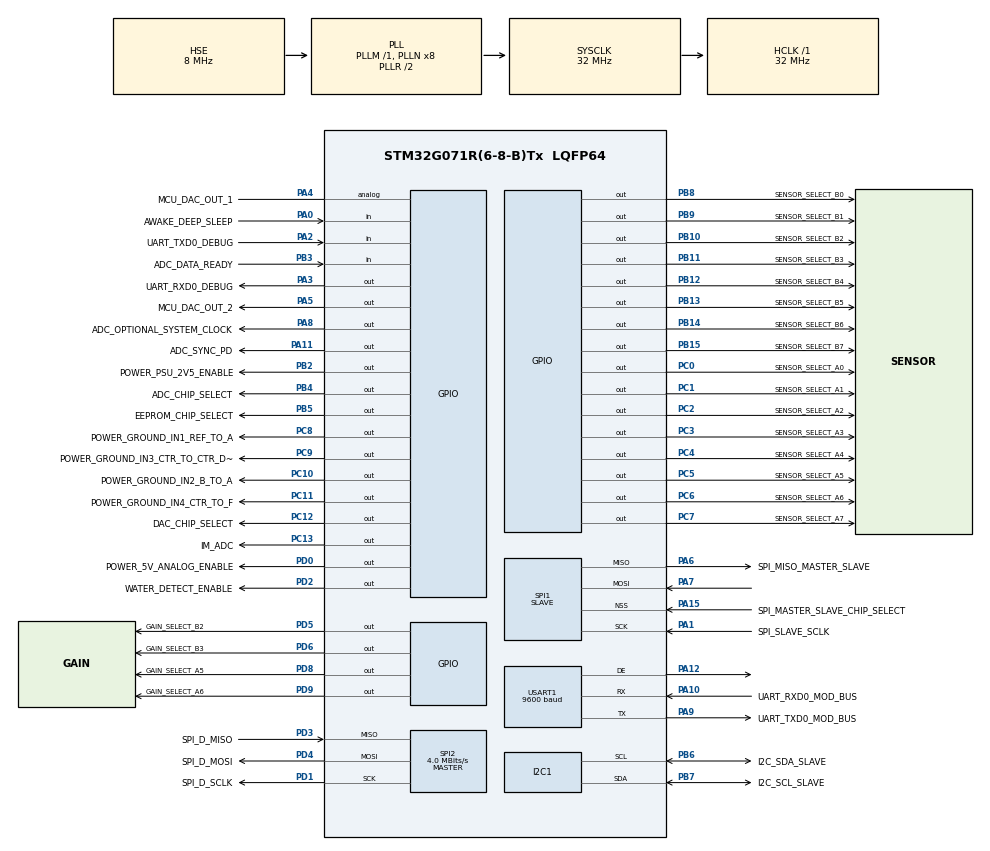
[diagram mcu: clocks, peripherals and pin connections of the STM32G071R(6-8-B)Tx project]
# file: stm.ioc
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Dma.Request0=USART1_RX
Dma.USART1_RX.0.Direction=DMA_PERIPH_TO_MEMORY
Dma.USART1_RX.0.EventEnable=DISABLE
Dma.USART1_RX.0.Instance=DMA1_Channel1
Dma.USART1_RX.0.MemDataAlignment=DMA_MDATAALIGN_BYTE
Dma.USART1_RX.0.MemInc=DMA_MINC_ENABLE
Dma.USART1_RX.0.Mode=DMA_NORMAL
Dma.USART1_RX.0.PeriphDataAlignment=DMA_PDATAALIGN_BYTE
Dma.USART1_RX.0.PeriphInc=DMA_PINC_DISABLE
Dma.USART1_RX.0.Polarity=HAL_DMAMUX_REQ_GEN_RISING
Dma.USART1_RX.0.Priority=DMA_PRIORITY_LOW
Dma.USART1_RX.0.RequestNumber=1
Dma.USART1_RX.0.SignalID=NONE
Dma.USART1_RX.0.SyncEnable=DISABLE
Dma.USART1_RX.0.SyncPolarity=HAL_DMAMUX_SYNC_NO_EVENT
Dma.USART1_RX.0.SyncRequestNumber=1
Dma.USART1_RX.0.SyncSignalID=NONE
I2C1.Timing=0x00707CBB
Mcu.Family=STM32G0
Mcu.Name=STM32G071R(6-8-B)Tx
Mcu.Package=LQFP64
NVIC.DMA1_Channel1_IRQn=true\:0\:0\:false\:false\:true\:false\:true\:true
NVIC.TIM14_IRQn=true\:1\:0\:true\:false\:true\:true\:true\:true
NVIC.TIM16_IRQn=true\:1\:0\:true\:false\:true\:true\:true\:true
NVIC.TIM17_IRQn=true\:1\:0\:true\:false\:true\:true\:true\:true
NVIC.TIM6_DAC_LPTIM1_IRQn=true\:1\:0\:true\:false\:true\:true\:true\:true
NVIC.TIM7_LPTIM2_IRQn=true\:1\:0\:true\:false\:true\:true\:true\:true
NVIC.USART1_IRQn=true\:0\:0\:false\:false\:true\:true\:true\:true
PA0.GPIO_Label=AWAKE_DEEP_SLEEP
PA0.Signal=GPIO_Input
PA1.GPIO_Label=SPI_SLAVE_SCLK
PA1.Mode=Full_Duplex_Slave
PA1.Signal=SPI1_SCK
PA10.GPIO_Label=UART_RXD0_MOD_BUS
PA10.Mode=Asynchronous
PA10.Signal=USART1_RX
PA11\ [PA9].GPIO_Label=ADC_SYNC_PD
PA11\ [PA9].Signal=GPIO_Output
PA12\ [PA10].Mode=Hardware Flow Control (RS485)
PA12\ [PA10].Signal=USART1_DE
PA13.Mode=Serial_Wire
PA13.Signal=SYS_SWDIO
PA14-BOOT0.Mode=Serial_Wire
PA14-BOOT0.Signal=SYS_SWCLK
PA15.GPIO_Label=SPI_MASTER_SLAVE_CHIP_SELECT
PA15.Mode=NSS_Signal_Hard_Input
PA15.Signal=SPI1_NSS
PA2.GPIO_Label=UART_TXD0_DEBUG
PA2.Signal=GPIO_Input
PA3.GPIO_Label=UART_RXD0_DEBUG
PA3.Signal=GPIO_Output
PA4.GPIO_Label=MCU_DAC_OUT_1
PA4.Signal=SharedAnalog_PA4
PA5.GPIO_Label=MCU_DAC_OUT_2
PA5.Signal=GPIO_Output
PA6.GPIO_Label=SPI_MISO_MASTER_SLAVE
PA6.Mode=Full_Duplex_Slave
PA6.Signal=SPI1_MISO
PA7.Mode=Full_Duplex_Slave
PA7.Signal=SPI1_MOSI
PA8.GPIO_Label=ADC_OPTIONAL_SYSTEM_CLOCK
PA8.Signal=GPIO_Output
PA9.GPIO_Label=UART_TXD0_MOD_BUS
PA9.Mode=Asynchronous
PA9.Signal=USART1_TX
PB10.GPIO_Label=SENSOR_SELECT_B2
PB10.Signal=GPIO_Output
PB11.GPIO_Label=SENSOR_SELECT_B3
PB11.Signal=GPIO_Output
PB12.GPIO_Label=SENSOR_SELECT_B4
PB12.Signal=GPIO_Output
PB13.GPIO_Label=SENSOR_SELECT_B5
PB13.Signal=GPIO_Output
PB14.GPIO_Label=SENSOR_SELECT_B6
PB14.Signal=GPIO_Output
PB15.GPIO_Label=SENSOR_SELECT_B7
PB15.Signal=GPIO_Output
PB2.GPIO_Label=POWER_PSU_2V5_ENABLE
PB2.Signal=GPIO_Output
PB3.GPIO_Label=ADC_DATA_READY
PB3.Signal=GPIO_Input
PB4.GPIO_Label=ADC_CHIP_SELECT
PB4.Signal=GPIO_Output
PB5.GPIO_Label=EEPROM_CHIP_SELECT
PB5.Signal=GPIO_Output
PB6.GPIO_Label=I2C_SDA_SLAVE
PB6.Mode=I2C
PB6.Signal=I2C1_SCL
PB7.GPIO_Label=I2C_SCL_SLAVE
PB7.Mode=I2C
PB7.Signal=I2C1_SDA
PB8.GPIO_Label=SENSOR_SELECT_B0
PB8.Signal=GPIO_Output
PB9.GPIO_Label=SENSOR_SELECT_B1
PB9.Signal=GPIO_Output
PC0.GPIO_Label=SENSOR_SELECT_A0
PC0.Signal=GPIO_Output
PC1.GPIO_Label=SENSOR_SELECT_A1
PC1.Signal=GPIO_Output
PC10.GPIO_Label=POWER_GROUND_IN2_B_TO_A
PC10.Signal=GPIO_Output
PC11.GPIO_Label=POWER_GROUND_IN4_CTR_TO_F
PC11.Signal=GPIO_Output
PC12.GPIO_Label=DAC_CHIP_SELECT
PC12.Signal=GPIO_Output
PC13.GPIO_Label=IM_ADC
PC13.Signal=GPIO_Output
PC14-OSC32_IN\ (PC14).Mode=LSE-External-Oscillator
PC14-OSC32_IN\ (PC14).Signal=RCC_OSC32_IN
PC15-OSC32_OUT\ (PC15).Mode=LSE-External-Oscillator
PC15-OSC32_OUT\ (PC15).Signal=RCC_OSC32_OUT
PC2.GPIO_Label=SENSOR_SELECT_A2
PC2.Signal=GPIO_Output
PC3.GPIO_Label=SENSOR_SELECT_A3
PC3.Signal=GPIO_Output
PC4.GPIO_Label=SENSOR_SELECT_A4
PC4.Signal=GPIO_Output
PC5.GPIO_Label=SENSOR_SELECT_A5
PC5.Signal=GPIO_Output
PC6.GPIO_Label=SENSOR_SELECT_A6
PC6.Signal=GPIO_Output
PC7.GPIO_Label=SENSOR_SELECT_A7
PC7.Signal=GPIO_Output
PC8.GPIO_Label=POWER_GROUND_IN1_REF_TO_A
PC8.Signal=GPIO_Output
PC9.GPIO_Label=POWER_GROUND_IN3_CTR_TO_CTR_DRV
PC9.Signal=GPIO_Output
PD0.GPIO_Label=POWER_5V_ANALOG_ENABLE
PD0.Signal=GPIO_Output
PD1.GPIO_Label=SPI_D_SCLK
PD1.Mode=Full_Duplex_Master
PD1.Signal=SPI2_SCK
PD2.GPIO_Label=WATER_DETECT_ENABLE
PD2.Signal=GPIO_Output
PD3.GPIO_Label=SPI_D_MISO
PD3.Mode=Full_Duplex_Master
PD3.Signal=SPI2_MISO
PD4.GPIO_Label=SPI_D_MOSI
PD4.Mode=Full_Duplex_Master
PD4.Signal=SPI2_MOSI
PD5.GPIO_Label=GAIN_SELECT_B2
PD5.Signal=GPIO_Output
PD6.GPIO_Label=GAIN_SELECT_B3
PD6.Signal=GPIO_Output
PD8.GPIO_Label=GAIN_SELECT_A5
PD8.Signal=GPIO_Output
PD9.GPIO_Label=GAIN_SELECT_A6
PD9.Signal=GPIO_Output
PF0-OSC_IN\ (PF0).Mode=HSE-External-Oscillator
PF0-OSC_IN\ (PF0).Signal=RCC_OSC_IN
PF1-OSC_OUT\ (PF1).Mode=HSE-External-Oscillator
PF1-OSC_OUT\ (PF1).Signal=RCC_OSC_OUT
ProjectManager.HeapSize=0x200
ProjectManager.StackSize=0x400
ProjectManager.TargetToolchain=STM32CubeIDE
RCC.ADCFreq_Value=32000000
RCC.AHBFreq_Value=32000000
RCC.CortexFreq_Value=32000000
RCC.EXTERNAL_CLOCK_VALUE=48000
RCC.HCLKFreq_Value=32000000
RCC.HSE_VALUE=8000000
RCC.HSI_VALUE=16000000
RCC.PLLSourceVirtual=RCC_PLLSOURCE_HSE
RCC.RTCClockSelection=RCC_RTCCLKSOURCE_LSE
RCC.SYSCLKFreq_VALUE=32000000
RCC.SYSCLKSource=RCC_SYSCLKSOURCE_PLLCLK
RCC.VCOOutputFreq_Value=64000000
SH.SharedAnalog_PA4.0=GPIO_Analog
SH.SharedAnalog_PA4.1=DAC1_OUT1
SPI1.CLKPhase=SPI_PHASE_1EDGE
SPI1.DataSize=SPI_DATASIZE_8BIT
SPI1.Direction=SPI_DIRECTION_2LINES
SPI1.Mode=SPI_MODE_SLAVE
SPI1.VirtualNSS=VM_NSSHARD
SPI1.VirtualType=VM_SLAVE
SPI2.BaudRatePrescaler=SPI_BAUDRATEPRESCALER_8
SPI2.CLKPhase=SPI_PHASE_1EDGE
SPI2.CLKPolarity=SPI_POLARITY_LOW
SPI2.CalculateBaudRate=4.0 MBits/s
SPI2.DataSize=SPI_DATASIZE_8BIT
SPI2.Direction=SPI_DIRECTION_2LINES
SPI2.Mode=SPI_MODE_MASTER
SPI2.VirtualType=VM_MASTER
TIM14.Prescaler=256 - 1
TIM16.Prescaler=256 - 1
TIM17.Prescaler=256 - 1
TIM6.Prescaler=256 - 1
TIM7.Prescaler=256 - 1
USART1.BaudRate=9600
USART1.VirtualMode-Asynchronous=VM_ASYNC
USART1.VirtualMode-Hardware\ Flow\ Control\ (RS485)=VM_ASYNC
VP_RTC_VS_RTC_Activate.Mode=RTC_Enabled
VP_TIM14_VS_ClockSourceINT.Mode=Enable_Timer
VP_TIM16_VS_ClockSourceINT.Mode=Enable_Timer
VP_TIM17_VS_ClockSourceINT.Mode=Enable_Timer
VP_TIM6_VS_ClockSourceINT.Mode=Enable_Timer
VP_TIM7_VS_ClockSourceINT.Mode=Enable_Timer
board=custom

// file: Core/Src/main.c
/* USER CODE BEGIN Header */
/**
  ******************************************************************************
  * @file           : main.c
  * @brief          : Main program body
  ******************************************************************************
  * @attention
  *
  * Copyright (c) 2023 STMicroelectronics.
  * All rights reserved.
  *
  * This software is licensed under terms that can be found in the LICENSE file
  * in the root directory of this software component.
  * If no LICENSE file comes with this software, it is provided AS-IS.
  *
  ******************************************************************************
  */
/* USER CODE END Header */
#include <scan.h>
#include "main.h"

/* USER CODE BEGIN Includes */
#include "usart_commsboard.h"
#include "ioport.h"
#include "subsystem.h"
#include "init.h"
#include <stdio.h>
/* USER CODE END Includes */

I2C_HandleTypeDef hi2c1;

RTC_HandleTypeDef hrtc;

SPI_HandleTypeDef hspi1;
SPI_HandleTypeDef hspi2;

TIM_HandleTypeDef htim6;
TIM_HandleTypeDef htim7;
TIM_HandleTypeDef htim14;
TIM_HandleTypeDef htim16;
TIM_HandleTypeDef htim17;

UART_HandleTypeDef huart1;
DMA_HandleTypeDef hdma_usart1_rx;

void SystemClock_Config(void);
static void MX_GPIO_Init(void);
static void MX_DMA_Init(void);
static void MX_I2C1_Init(void);
static void MX_SPI1_Init(void);
static void MX_SPI2_Init(void);
static void MX_USART1_UART_Init(void);
static void MX_TIM14_Init(void);
static void MX_TIM16_Init(void);
static void MX_TIM17_Init(void);
static void MX_TIM7_Init(void);
static void MX_TIM6_Init(void);
static void MX_RTC_Init(void);

/* USER CODE BEGIN 0 */
uint8_t rxData[COMMAND_MAXIMUM_SIZE];
uint8_t mainData[COMMAND_MAXIMUM_SIZE];

/* USER CODE END 0 */

int main(void)
{

  /* MCU Configuration--------------------------------------------------------*/

  /* Reset of all peripherals, Initializes the Flash interface and the Systick. */
  HAL_Init();

  /* USER CODE BEGIN Init */
  //note that timer priorities are in group 1 to allow HAL_Delay() to run normally with priority 0
  /* USER CODE END Init */

  /* Configure the system clock */
  SystemClock_Config();

  /* Initialize all configured peripherals */
  MX_GPIO_Init();
  MX_DMA_Init();
  MX_I2C1_Init();
  MX_SPI1_Init();
  MX_SPI2_Init();
  MX_USART1_UART_Init();
  MX_TIM14_Init();
  MX_TIM16_Init();
  MX_TIM17_Init();
  MX_TIM7_Init();
  MX_TIM6_Init();
  MX_RTC_Init();
  /* USER CODE BEGIN 2 */

  board_init();
  HAL_UARTEx_ReceiveToIdle_DMA(&huart1, rxData, sizeof(rxData));

  /* USER CODE END 2 */

  /* Infinite loop */
  /* USER CODE BEGIN WHILE */
  while (1)
  {
	  if (perform_fresh_measurement_routine_flag)
	  {
		  if(!already_scanning)
		  {
			  already_scanning = true;
			  scan(SCAN_TYPE_FRESH);
			  perform_fresh_measurement_routine_flag = false;
			  scan_internal_interval_flag = false;
			  scan_interval_flag = false;
			  scan_short_interval_flag = false;
			  scan_first_flag = false;
			  already_scanning = false;
		  }
	  }
	  if (perform_ocean_measurement_routine_flag)
	  {
		  if(!already_scanning)
		  {
			  already_scanning = true;
			  scan(SCAN_TYPE_OCEAN);
			  perform_ocean_measurement_routine_flag = false;
			  scan_internal_interval_flag = false;
			  scan_interval_flag = false;
			  scan_short_interval_flag = false;
			  scan_first_flag = false;
			  already_scanning = false;
		  }
	  }
	  if (perform_vf_measurement_routine_flag)
	  {
		  if(!already_scanning)
		  {
			  already_scanning = true;
			  scan(SCAN_TYPE_VF);
			  perform_vf_measurement_routine_flag = false;
			  scan_internal_interval_flag = false;
			  scan_interval_flag = false;
			  scan_short_interval_flag = false;
			  scan_first_flag = false;
			  already_scanning = false;
		  }
	  }

    /* USER CODE END WHILE */

  }
}

void SystemClock_Config(void)
{
  RCC_OscInitTypeDef RCC_OscInitStruct = {0};
  RCC_ClkInitTypeDef RCC_ClkInitStruct = {0};

  /** Configure the main internal regulator output voltage
  */
  HAL_PWREx_ControlVoltageScaling(PWR_REGULATOR_VOLTAGE_SCALE1);

  /** Configure LSE Drive Capability
  */
  HAL_PWR_EnableBkUpAccess();
  __HAL_RCC_LSEDRIVE_CONFIG(RCC_LSEDRIVE_LOW);

  /** Initializes the RCC Oscillators according to the specified parameters
  * in the RCC_OscInitTypeDef structure.
  */
  RCC_OscInitStruct.OscillatorType = RCC_OSCILLATORTYPE_HSE|RCC_OSCILLATORTYPE_LSE;
  RCC_OscInitStruct.HSEState = RCC_HSE_ON;
  RCC_OscInitStruct.LSEState = RCC_LSE_ON;
  RCC_OscInitStruct.PLL.PLLState = RCC_PLL_ON;
  RCC_OscInitStruct.PLL.PLLSource = RCC_PLLSOURCE_HSE;
  RCC_OscInitStruct.PLL.PLLM = RCC_PLLM_DIV1;
  RCC_OscInitStruct.PLL.PLLN = 8;
  RCC_OscInitStruct.PLL.PLLP = RCC_PLLP_DIV2;
  RCC_OscInitStruct.PLL.PLLQ = RCC_PLLQ_DIV2;
  RCC_OscInitStruct.PLL.PLLR = RCC_PLLR_DIV2;
  if (HAL_RCC_OscConfig(&RCC_OscInitStruct) != HAL_OK)
  {
    Error_Handler();
  }

  /** Initializes the CPU, AHB and APB buses clocks
  */
  RCC_ClkInitStruct.ClockType = RCC_CLOCKTYPE_HCLK|RCC_CLOCKTYPE_SYSCLK
                              |RCC_CLOCKTYPE_PCLK1;
  RCC_ClkInitStruct.SYSCLKSource = RCC_SYSCLKSOURCE_PLLCLK;
  RCC_ClkInitStruct.AHBCLKDivider = RCC_SYSCLK_DIV1;
  RCC_ClkInitStruct.APB1CLKDivider = RCC_HCLK_DIV1;

  if (HAL_RCC_ClockConfig(&RCC_ClkInitStruct, FLASH_LATENCY_1) != HAL_OK)
  {
    Error_Handler();
  }
}

static void MX_I2C1_Init(void)
{

  hi2c1.Instance = I2C1;
  hi2c1.Init.Timing = 0x00707CBB;
  hi2c1.Init.OwnAddress1 = 0;
  hi2c1.Init.AddressingMode = I2C_ADDRESSINGMODE_7BIT;
  hi2c1.Init.DualAddressMode = I2C_DUALADDRESS_DISABLE;
  hi2c1.Init.OwnAddress2 = 0;
  hi2c1.Init.OwnAddress2Masks = I2C_OA2_NOMASK;
  hi2c1.Init.GeneralCallMode = I2C_GENERALCALL_DISABLE;
  hi2c1.Init.NoStretchMode = I2C_NOSTRETCH_DISABLE;
  if (HAL_I2C_Init(&hi2c1) != HAL_OK)
  {
    Error_Handler();
  }

  /** Configure Analogue filter
  */
  if (HAL_I2CEx_ConfigAnalogFilter(&hi2c1, I2C_ANALOGFILTER_ENABLE) != HAL_OK)
  {
    Error_Handler();
  }

  /** Configure Digital filter
  */
  if (HAL_I2CEx_ConfigDigitalFilter(&hi2c1, 0) != HAL_OK)
  {
    Error_Handler();
  }

}

static void MX_RTC_Init(void)
{

  /** Initialize RTC Only
  */
  hrtc.Instance = RTC;
  hrtc.Init.HourFormat = RTC_HOURFORMAT_24;
  hrtc.Init.AsynchPrediv = 127;
  hrtc.Init.SynchPrediv = 255;
  hrtc.Init.OutPut = RTC_OUTPUT_DISABLE;
  hrtc.Init.OutPutRemap = RTC_OUTPUT_REMAP_NONE;
  hrtc.Init.OutPutPolarity = RTC_OUTPUT_POLARITY_HIGH;
  hrtc.Init.OutPutType = RTC_OUTPUT_TYPE_OPENDRAIN;
  hrtc.Init.OutPutPullUp = RTC_OUTPUT_PULLUP_NONE;
  if (HAL_RTC_Init(&hrtc) != HAL_OK)
  {
    Error_Handler();
  }

}

static void MX_SPI1_Init(void)
{

  /* SPI1 parameter configuration*/
  hspi1.Instance = SPI1;
  hspi1.Init.Mode = SPI_MODE_SLAVE;
  hspi1.Init.Direction = SPI_DIRECTION_2LINES;
  hspi1.Init.DataSize = SPI_DATASIZE_8BIT;
  hspi1.Init.CLKPolarity = SPI_POLARITY_LOW;
  hspi1.Init.CLKPhase = SPI_PHASE_1EDGE;
  hspi1.Init.NSS = SPI_NSS_HARD_INPUT;
  hspi1.Init.FirstBit = SPI_FIRSTBIT_MSB;
  hspi1.Init.TIMode = SPI_TIMODE_DISABLE;
  hspi1.Init.CRCCalculation = SPI_CRCCALCULATION_DISABLE;
  hspi1.Init.CRCPolynomial = 7;
  hspi1.Init.CRCLength = SPI_CRC_LENGTH_DATASIZE;
  hspi1.Init.NSSPMode = SPI_NSS_PULSE_DISABLE;
  if (HAL_SPI_Init(&hspi1) != HAL_OK)
  {
    Error_Handler();
  }

}

static void MX_SPI2_Init(void)
{

  /* SPI2 parameter configuration*/
  hspi2.Instance = SPI2;
  hspi2.Init.Mode = SPI_MODE_MASTER;
  hspi2.Init.Direction = SPI_DIRECTION_2LINES;
  hspi2.Init.DataSize = SPI_DATASIZE_8BIT;
  hspi2.Init.CLKPolarity = SPI_POLARITY_LOW;
  hspi2.Init.CLKPhase = SPI_PHASE_1EDGE;
  hspi2.Init.NSS = SPI_NSS_SOFT;
  hspi2.Init.BaudRatePrescaler = SPI_BAUDRATEPRESCALER_8;
  hspi2.Init.FirstBit = SPI_FIRSTBIT_MSB;
  hspi2.Init.TIMode = SPI_TIMODE_DISABLE;
  hspi2.Init.CRCCalculation = SPI_CRCCALCULATION_DISABLE;
  hspi2.Init.CRCPolynomial = 7;
  hspi2.Init.CRCLength = SPI_CRC_LENGTH_DATASIZE;
  hspi2.Init.NSSPMode = SPI_NSS_PULSE_ENABLE;
  if (HAL_SPI_Init(&hspi2) != HAL_OK)
  {
    Error_Handler();
  }

}

static void MX_TIM6_Init(void)
{

  TIM_MasterConfigTypeDef sMasterConfig = {0};

  htim6.Instance = TIM6;
  htim6.Init.Prescaler = 256 - 1;
  htim6.Init.CounterMode = TIM_COUNTERMODE_UP;
  htim6.Init.Period = 65535;
  htim6.Init.AutoReloadPreload = TIM_AUTORELOAD_PRELOAD_DISABLE;
  if (HAL_TIM_Base_Init(&htim6) != HAL_OK)
  {
    Error_Handler();
  }
  sMasterConfig.MasterOutputTrigger = TIM_TRGO_RESET;
  sMasterConfig.MasterSlaveMode = TIM_MASTERSLAVEMODE_DISABLE;
  if (HAL_TIMEx_MasterConfigSynchronization(&htim6, &sMasterConfig) != HAL_OK)
  {
    Error_Handler();
  }

}

static void MX_TIM7_Init(void)
{

  TIM_MasterConfigTypeDef sMasterConfig = {0};

  htim7.Instance = TIM7;
  htim7.Init.Prescaler = 256 - 1;
  htim7.Init.CounterMode = TIM_COUNTERMODE_UP;
  htim7.Init.Period = 65535;
  htim7.Init.AutoReloadPreload = TIM_AUTORELOAD_PRELOAD_DISABLE;
  if (HAL_TIM_Base_Init(&htim7) != HAL_OK)
  {
    Error_Handler();
  }
  sMasterConfig.MasterOutputTrigger = TIM_TRGO_RESET;
  sMasterConfig.MasterSlaveMode = TIM_MASTERSLAVEMODE_DISABLE;
  if (HAL_TIMEx_MasterConfigSynchronization(&htim7, &sMasterConfig) != HAL_OK)
  {
    Error_Handler();
  }

}

static void MX_TIM14_Init(void)
{

  htim14.Instance = TIM14;
  htim14.Init.Prescaler = 256 - 1;
  htim14.Init.CounterMode = TIM_COUNTERMODE_UP;
  htim14.Init.Period = 65535;
  htim14.Init.ClockDivision = TIM_CLOCKDIVISION_DIV1;
  htim14.Init.AutoReloadPreload = TIM_AUTORELOAD_PRELOAD_DISABLE;
  if (HAL_TIM_Base_Init(&htim14) != HAL_OK)
  {
    Error_Handler();
  }

}

static void MX_TIM16_Init(void)
{

  htim16.Instance = TIM16;
  htim16.Init.Prescaler = 256 - 1;
  htim16.Init.CounterMode = TIM_COUNTERMODE_UP;
  htim16.Init.Period = 65535;
  htim16.Init.ClockDivision = TIM_CLOCKDIVISION_DIV1;
  htim16.Init.RepetitionCounter = 0;
  htim16.Init.AutoReloadPreload = TIM_AUTORELOAD_PRELOAD_DISABLE;
  if (HAL_TIM_Base_Init(&htim16) != HAL_OK)
  {
    Error_Handler();
  }

}

static void MX_TIM17_Init(void)
{

  htim17.Instance = TIM17;
  htim17.Init.Prescaler = 256 - 1;
  htim17.Init.CounterMode = TIM_COUNTERMODE_UP;
  htim17.Init.Period = 65535;
  htim17.Init.ClockDivision = TIM_CLOCKDIVISION_DIV1;
  htim17.Init.RepetitionCounter = 0;
  htim17.Init.AutoReloadPreload = TIM_AUTORELOAD_PRELOAD_DISABLE;
  if (HAL_TIM_Base_Init(&htim17) != HAL_OK)
  {
    Error_Handler();
  }

}

static void MX_USART1_UART_Init(void)
{

  huart1.Instance = USART1;
  huart1.Init.BaudRate = 9600;
  huart1.Init.WordLength = UART_WORDLENGTH_8B;
  huart1.Init.StopBits = UART_STOPBITS_1;
  huart1.Init.Parity = UART_PARITY_NONE;
  huart1.Init.Mode = UART_MODE_TX_RX;
  huart1.Init.HwFlowCtl = UART_HWCONTROL_NONE;
  huart1.Init.OverSampling = UART_OVERSAMPLING_16;
  huart1.Init.OneBitSampling = UART_ONE_BIT_SAMPLE_DISABLE;
  huart1.Init.ClockPrescaler = UART_PRESCALER_DIV1;
  huart1.AdvancedInit.AdvFeatureInit = UART_ADVFEATURE_NO_INIT;
  if (HAL_RS485Ex_Init(&huart1, UART_DE_POLARITY_HIGH, 0, 0) != HAL_OK)
  {
    Error_Handler();
  }
  if (HAL_UARTEx_SetTxFifoThreshold(&huart1, UART_TXFIFO_THRESHOLD_1_8) != HAL_OK)
  {
    Error_Handler();
  }
  if (HAL_UARTEx_SetRxFifoThreshold(&huart1, UART_RXFIFO_THRESHOLD_1_8) != HAL_OK)
  {
    Error_Handler();
  }
  if (HAL_UARTEx_DisableFifoMode(&huart1) != HAL_OK)
  {
    Error_Handler();
  }

}

static void MX_DMA_Init(void)
{

  /* DMA controller clock enable */
  __HAL_RCC_DMA1_CLK_ENABLE();

  /* DMA interrupt init */
  /* DMA1_Channel1_IRQn interrupt configuration */
  HAL_NVIC_SetPriority(DMA1_Channel1_IRQn, 0, 0);
  HAL_NVIC_EnableIRQ(DMA1_Channel1_IRQn);

}

static void MX_GPIO_Init(void)
{
  GPIO_InitTypeDef GPIO_InitStruct = {0};

  /* GPIO Ports Clock Enable */
  __HAL_RCC_GPIOC_CLK_ENABLE();
  __HAL_RCC_GPIOF_CLK_ENABLE();
  __HAL_RCC_GPIOA_CLK_ENABLE();
  __HAL_RCC_GPIOB_CLK_ENABLE();
  __HAL_RCC_GPIOD_CLK_ENABLE();

  /*Configure GPIO pin Output Level */
  HAL_GPIO_WritePin(GPIOC, POWER_GROUND_IN4_CTR_TO_F_Pin|DAC_CHIP_SELECT_Pin|IM_ADC_Pin|SENSOR_SELECT_A0_Pin
                          |SENSOR_SELECT_A1_Pin|SENSOR_SELECT_A2_Pin|SENSOR_SELECT_A3_Pin|SENSOR_SELECT_A4_Pin
                          |SENSOR_SELECT_A5_Pin|SENSOR_SELECT_A6_Pin|SENSOR_SELECT_A7_Pin|POWER_GROUND_IN1_REF_TO_A_Pin
                          |POWER_GROUND_IN3_CTR_TO_CTR_DRV_Pin|POWER_GROUND_IN2_B_TO_A_Pin, GPIO_PIN_RESET);

  /*Configure GPIO pin Output Level */
  HAL_GPIO_WritePin(GPIOA, UART_RXD0_DEBUG_Pin|MCU_DAC_OUT_2_Pin|ADC_OPTIONAL_SYSTEM_CLOCK_Pin|ADC_SYNC_PD_Pin, GPIO_PIN_RESET);

  /*Configure GPIO pin Output Level */
  HAL_GPIO_WritePin(GPIOB, POWER_PSU_2V5_ENABLE_Pin|SENSOR_SELECT_B2_Pin|SENSOR_SELECT_B3_Pin|SENSOR_SELECT_B4_Pin
                          |SENSOR_SELECT_B5_Pin|SENSOR_SELECT_B6_Pin|SENSOR_SELECT_B7_Pin|ADC_CHIP_SELECT_Pin
                          |EEPROM_CHIP_SELECT_Pin|SENSOR_SELECT_B0_Pin|SENSOR_SELECT_B1_Pin, GPIO_PIN_RESET);

  /*Configure GPIO pin Output Level */
  HAL_GPIO_WritePin(GPIOD, GAIN_SELECT_A5_Pin|GAIN_SELECT_A6_Pin|POWER_5V_ANALOG_ENABLE_Pin|WATER_DETECT_ENABLE_Pin
                          |GAIN_SELECT_B2_Pin|GAIN_SELECT_B3_Pin, GPIO_PIN_RESET);

  /*Configure GPIO pins : POWER_GROUND_IN4_CTR_TO_F_Pin DAC_CHIP_SELECT_Pin IM_ADC_Pin SENSOR_SELECT_A0_Pin
                           SENSOR_SELECT_A1_Pin SENSOR_SELECT_A2_Pin SENSOR_SELECT_A3_Pin SENSOR_SELECT_A4_Pin
                           SENSOR_SELECT_A5_Pin SENSOR_SELECT_A6_Pin SENSOR_SELECT_A7_Pin POWER_GROUND_IN1_REF_TO_A_Pin
                           POWER_GROUND_IN3_CTR_TO_CTR_DRV_Pin POWER_GROUND_IN2_B_TO_A_Pin */
  GPIO_InitStruct.Pin = POWER_GROUND_IN4_CTR_TO_F_Pin|DAC_CHIP_SELECT_Pin|IM_ADC_Pin|SENSOR_SELECT_A0_Pin
                          |SENSOR_SELECT_A1_Pin|SENSOR_SELECT_A2_Pin|SENSOR_SELECT_A3_Pin|SENSOR_SELECT_A4_Pin
                          |SENSOR_SELECT_A5_Pin|SENSOR_SELECT_A6_Pin|SENSOR_SELECT_A7_Pin|POWER_GROUND_IN1_REF_TO_A_Pin
                          |POWER_GROUND_IN3_CTR_TO_CTR_DRV_Pin|POWER_GROUND_IN2_B_TO_A_Pin;
  GPIO_InitStruct.Mode = GPIO_MODE_OUTPUT_PP;
  GPIO_InitStruct.Pull = GPIO_NOPULL;
  GPIO_InitStruct.Speed = GPIO_SPEED_FREQ_LOW;
  HAL_GPIO_Init(GPIOC, &GPIO_InitStruct);

  /*Configure GPIO pins : AWAKE_DEEP_SLEEP_Pin UART_TXD0_DEBUG_Pin */
  GPIO_InitStruct.Pin = AWAKE_DEEP_SLEEP_Pin|UART_TXD0_DEBUG_Pin;
  GPIO_InitStruct.Mode = GPIO_MODE_INPUT;
  GPIO_InitStruct.Pull = GPIO_NOPULL;
  HAL_GPIO_Init(GPIOA, &GPIO_InitStruct);

  /*Configure GPIO pins : UART_RXD0_DEBUG_Pin MCU_DAC_OUT_2_Pin ADC_OPTIONAL_SYSTEM_CLOCK_Pin ADC_SYNC_PD_Pin */
  GPIO_InitStruct.Pin = UART_RXD0_DEBUG_Pin|MCU_DAC_OUT_2_Pin|ADC_OPTIONAL_SYSTEM_CLOCK_Pin|ADC_SYNC_PD_Pin;
  GPIO_InitStruct.Mode = GPIO_MODE_OUTPUT_PP;
  GPIO_InitStruct.Pull = GPIO_NOPULL;
  GPIO_InitStruct.Speed = GPIO_SPEED_FREQ_LOW;
  HAL_GPIO_Init(GPIOA, &GPIO_InitStruct);

  /*Configure GPIO pin : MCU_DAC_OUT_1_Pin */
  GPIO_InitStruct.Pin = MCU_DAC_OUT_1_Pin;
  GPIO_InitStruct.Mode = GPIO_MODE_ANALOG;
  GPIO_InitStruct.Pull = GPIO_NOPULL;
  HAL_GPIO_Init(MCU_DAC_OUT_1_GPIO_Port, &GPIO_InitStruct);

  /*Configure GPIO pins : POWER_PSU_2V5_ENABLE_Pin SENSOR_SELECT_B2_Pin SENSOR_SELECT_B3_Pin SENSOR_SELECT_B4_Pin
                           SENSOR_SELECT_B5_Pin SENSOR_SELECT_B6_Pin SENSOR_SELECT_B7_Pin ADC_CHIP_SELECT_Pin
                           EEPROM_CHIP_SELECT_Pin SENSOR_SELECT_B0_Pin SENSOR_SELECT_B1_Pin */
  GPIO_InitStruct.Pin = POWER_PSU_2V5_ENABLE_Pin|SENSOR_SELECT_B2_Pin|SENSOR_SELECT_B3_Pin|SENSOR_SELECT_B4_Pin
                          |SENSOR_SELECT_B5_Pin|SENSOR_SELECT_B6_Pin|SENSOR_SELECT_B7_Pin|ADC_CHIP_SELECT_Pin
                          |EEPROM_CHIP_SELECT_Pin|SENSOR_SELECT_B0_Pin|SENSOR_SELECT_B1_Pin;
  GPIO_InitStruct.Mode = GPIO_MODE_OUTPUT_PP;
  GPIO_InitStruct.Pull = GPIO_NOPULL;
  GPIO_InitStruct.Speed = GPIO_SPEED_FREQ_LOW;
  HAL_GPIO_Init(GPIOB, &GPIO_InitStruct);

  /*Configure GPIO pins : GAIN_SELECT_A5_Pin GAIN_SELECT_A6_Pin POWER_5V_ANALOG_ENABLE_Pin WATER_DETECT_ENABLE_Pin
                           GAIN_SELECT_B2_Pin GAIN_SELECT_B3_Pin */
  GPIO_InitStruct.Pin = GAIN_SELECT_A5_Pin|GAIN_SELECT_A6_Pin|POWER_5V_ANALOG_ENABLE_Pin|WATER_DETECT_ENABLE_Pin
                          |GAIN_SELECT_B2_Pin|GAIN_SELECT_B3_Pin;
  GPIO_InitStruct.Mode = GPIO_MODE_OUTPUT_PP;
  GPIO_InitStruct.Pull = GPIO_NOPULL;
  GPIO_InitStruct.Speed = GPIO_SPEED_FREQ_LOW;
  HAL_GPIO_Init(GPIOD, &GPIO_InitStruct);

  /*Configure GPIO pin : ADC_DATA_READY_Pin */
  GPIO_InitStruct.Pin = ADC_DATA_READY_Pin;
  GPIO_InitStruct.Mode = GPIO_MODE_INPUT;
  GPIO_InitStruct.Pull = GPIO_NOPULL;
  HAL_GPIO_Init(ADC_DATA_READY_GPIO_Port, &GPIO_InitStruct);

}

/* USER CODE BEGIN 4 */
void HAL_UARTEx_RxEventCallback(UART_HandleTypeDef *huart, uint16_t Size)
{
  /* Prevent unused argument(s) compilation warning */
  UNUSED(huart);
  UNUSED(Size);

  memcpy(mainData, rxData, Size);

  check_message(mainData, sizeof(mainData));

  HAL_UARTEx_ReceiveToIdle_DMA(&huart1, rxData, sizeof(rxData));
  __HAL_DMA_DISABLE_IT(&hdma_usart1_rx, DMA_IT_HT);

  /* NOTE : This function should not be modified, when the callback is needed,
            the HAL_UARTEx_RxEventCallback can be implemented in the user file.
   */
}

void uart1_send_byte(uint8_t byte)
{
	HAL_UART_Transmit(&huart1, &byte, sizeof(byte), 100);
}

void uart1_send_bytes(uint8_t bytes[], uint8_t bytes_to_send)
{
	HAL_UART_Transmit(&huart1, bytes, bytes_to_send, 100);
}

void spi1_enable(void)
{
	__HAL_SPI_ENABLE(&hspi1);
}

void spi1_send_byte(uint8_t byte)
{
	while( !(SPI1->SR & (SPI_SR_TXE)) );  // wait until transmit buffer empty
	*(__IO uint8_t *)&SPI1->DR = byte; // send data
}

//simplified function to send one byte in spi mode 0
void spi2_send_byte(uint8_t byte)
{
	__HAL_SPI_DISABLE(&hspi2);
	hspi2.Instance->CR1 &= ~(SPI_CR1_CPHA);       // Clear CPHA bit
	hspi2.Instance->CR1 |= SPI_PHASE_1EDGE;       // Set CPHA bit for 1st edge
	__HAL_SPI_ENABLE(&hspi2);

	while( !(SPI2->SR & (SPI_SR_TXE)) );  // wait until transmit buffer empty
	*(__IO uint8_t *)&SPI2->DR = byte; // send data
	while (((SPI2->SR)&(SPI_SR_BSY))) {};
}

void spi2_send_bytes(uint8_t num_bytes, uint8_t bytes[], unsigned long clock_edge)
{
	__HAL_SPI_DISABLE(&hspi2);
	hspi2.Instance->CR1 &= ~(SPI_CR1_CPHA);       // Clear CPHA bit
	hspi2.Instance->CR1 |= clock_edge;       // Set CPHA bit for specified edge
	__HAL_SPI_ENABLE(&hspi2);

	for(int i = 0; i < num_bytes; i++)
	{
		while( !(SPI2->SR & (SPI_SR_TXE)) );  // wait until transmit buffer empty
		while (((SPI2->SR)&(SPI_SR_BSY))) {};
		*(__IO uint8_t *)&SPI2->DR = bytes[i]; // send data
	}
	while(!(SPI2->SR & (SPI_SR_TXE)));	//wait until transmit buffer empty
	while ((SPI2->SR)&(SPI_SR_BSY));	//wait until final byte sent
}

//simplified function to return a one byte read in spi mode 0
uint8_t spi2_get_byte()
{
	uint8_t byte;

	__HAL_SPI_DISABLE(&hspi2);
	hspi2.Instance->CR1 &= ~(SPI_CR1_CPHA);
	hspi2.Instance->CR1 |= SPI_PHASE_1EDGE;
	__HAL_SPI_ENABLE(&hspi2);

	HAL_SPIEx_FlushRxFifo(&hspi2);

	while( !(SPI2->SR & SPI_SR_TXE) );  // wait until transmit buffer empty
	*(__IO uint8_t *)&SPI2->DR = 0x00; // send dummy data

	while(!(SPI2->SR & SPI_SR_RXNE));

	byte = SPI2->DR;

	return byte;
}

void spi2_get_bytes(uint8_t num_bytes, uint8_t* bytes, unsigned long clock_edge)
{
	HAL_SPIEx_FlushRxFifo(&hspi2);

	__HAL_SPI_DISABLE(&hspi2);
	hspi2.Instance->CR1 &= ~(SPI_CR1_CPHA);       // Clear CPHA bit
	hspi2.Instance->CR1 |= clock_edge;       // Set CPHA bit for 2nd edge
	__HAL_SPI_ENABLE(&hspi2);

	for(int i = 0; i < num_bytes; i++)
	{
		while( !(SPI2->SR & SPI_SR_TXE) );  // wait until transmit buffer empty
		*(__IO uint8_t *)&SPI2->DR = 0; // send dummy data
		while( !(SPI2->SR & SPI_SR_RXNE));
		bytes[i] = SPI2->DR;
	}

	return;
}

void spi2_wait_for_eeprom_write_to_complete()
{
	int count = 0;
	ioport_set_pin_level(eeprom_chip_select, IOPORT_PIN_LEVEL_LOW);
	spi2_send_byte(0x05); //read status register
	spi2_get_byte(); //to clear the byte resulting from from the command. check if this is necessary

	uint8_t reg = spi2_get_byte(); //read the status register
	while((reg & 1) == 1) //while write in progress, keep reading
	{
		count++;
		reg = spi2_get_byte();
	}

	ioport_set_pin_level(eeprom_chip_select, IOPORT_PIN_LEVEL_HIGH);

	return;
}

void start_timer(uint8_t timer_number)
{
	if(timer_number == 6) //SCAN_DAC_POSITIVE_CONDITIONING_TIMER
	{
		__HAL_TIM_CLEAR_IT(&htim6, TIM_IT_UPDATE); //to stop interrupt firing immediately
		HAL_TIM_Base_Start_IT(&htim6);
	}
	if(timer_number == 7) //SCAN_DAC_POSITIVE_TIMER
	{
		__HAL_TIM_CLEAR_IT(&htim7, TIM_IT_UPDATE); //to stop interrupt firing immediately
		HAL_TIM_Base_Start_IT(&htim7);
	}
	if(timer_number == 14) //SCAN_DAC_NEGATIVE_TIMER
	{
		__HAL_TIM_CLEAR_IT(&htim14, TIM_IT_UPDATE); //to stop interrupt firing immediately
		HAL_TIM_Base_Start_IT(&htim14);
	}
	if(timer_number == 16) //SCAN_ADC_MEASUREMENT_POSITIVE_TIMER
	{
		__HAL_TIM_CLEAR_IT(&htim16, TIM_IT_UPDATE); //to stop interrupt firing immediately
		HAL_TIM_Base_Start_IT(&htim16);
	}
	if(timer_number == 17) //SCAN_ADC_MEASUREMENT_NEGATIVE_TIMER
	{
		__HAL_TIM_CLEAR_IT(&htim17, TIM_IT_UPDATE); //to stop interrupt firing immediately
		HAL_TIM_Base_Start_IT(&htim17);
	}
}

void stop_timer(uint8_t timer_number)
{
	if(timer_number == 6) //SCAN_DAC_POSITIVE_CONDITIONING_TIMER
		HAL_TIM_Base_Stop_IT(&htim6);
	if(timer_number == 7) //SCAN_DAC_POSITIVE_TIMER
		HAL_TIM_Base_Stop_IT(&htim7);
	if(timer_number == 14) //SCAN_DAC_NEGATIVE_TIMER
		HAL_TIM_Base_Stop_IT(&htim14);
	if(timer_number == 16) //SCAN_ADC_MEASUREMENT_POSITIVE_TIMER
		HAL_TIM_Base_Stop_IT(&htim16);
	if(timer_number == 17) //SCAN_ADC_MEASUREMENT_NEGATIVE_TIMER
		HAL_TIM_Base_Stop_IT(&htim17);
}

void set_timer_period(uint8_t timer_number, uint16_t timer_overflow_count)
{
	if(timer_number == 6) //SCAN_DAC_POSITIVE_CONDITIONING_TIMER
		htim6.Instance->ARR = timer_overflow_count;
	if(timer_number == 7) //SCAN_DAC_POSITIVE_TIMER
		htim7.Instance->ARR = timer_overflow_count;
	if(timer_number == 14) //SCAN_DAC_NEGATIVE_TIMER
		htim14.Instance->ARR = timer_overflow_count;
	if(timer_number == 16) //SCAN_ADC_MEASUREMENT_POSITIVE_TIMER
		htim16.Instance->ARR = timer_overflow_count;
	if(timer_number == 17) //SCAN_ADC_MEASUREMENT_NEGATIVE_TIMER
		htim17.Instance->ARR = timer_overflow_count;
}

void set_timer_count(uint8_t timer_number, uint16_t timer_count)
{
	if(timer_number == 6) //SCAN_DAC_POSITIVE_CONDITIONING_TIMER
		htim6.Instance->CNT = timer_count;
	if(timer_number == 7) //SCAN_DAC_POSITIVE_TIMER
		htim7.Instance->CNT = timer_count;
	if(timer_number == 14) //SCAN_DAC_NEGATIVE_TIMER
		htim14.Instance->CNT = timer_count;
	if(timer_number == 16) //SCAN_ADC_MEASUREMENT_POS ITIVE_TIMER
		htim16.Instance->CNT = timer_count;
	if(timer_number == 17) //SCAN_ADC_MEASUREMENT_NEGATIVE_TIMER
		htim17.Instance->CNT = timer_count;
}

void cpu_irq_enable()
{
	__enable_irq();
}

void cpu_irq_disable()
{
	__disable_irq();
}

void HAL_TIM_PeriodElapsedCallback(TIM_HandleTypeDef *htim)
{

	if(htim == &htim6)
	{
		conditioning_timer_loop();
	}

	if(htim == &htim7)
	{
		dac_positive_scan_cycle_processor();
	}

	if(htim == &htim14)
	{
		dac_negative_scan_cycle_processor();
	}

	if(htim == &htim16)
	{
		adc_positive_scan_cycle_processor();
	}

	if(htim == &htim17)
	{
		adc_negative_scan_cycle_processor();
	}

}

/* USER CODE END 4 */

void Error_Handler(void)
{
  __disable_irq();
  while (1)
  {
  }
}
